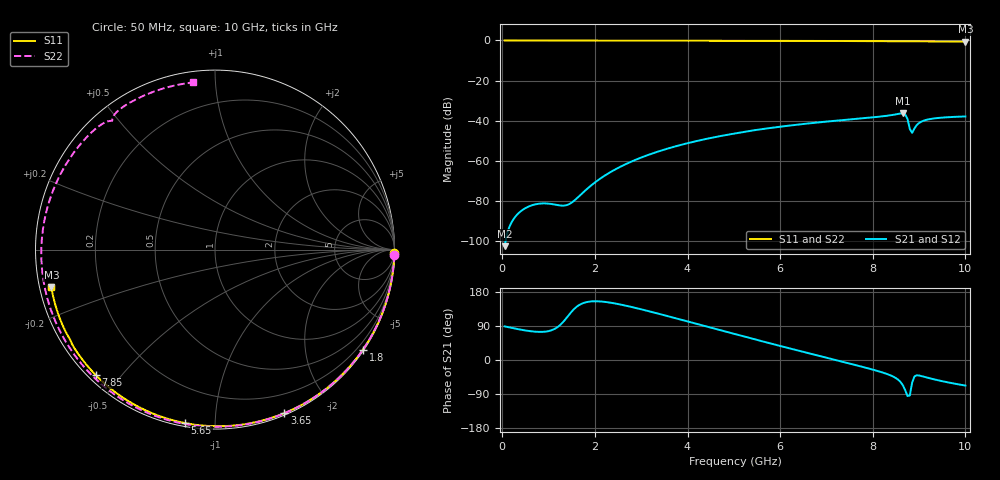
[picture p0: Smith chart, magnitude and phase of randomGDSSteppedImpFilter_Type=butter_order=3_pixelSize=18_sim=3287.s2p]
! freq	dB(S11)	phase(S11)	dB(S12)	phase(S12)
!  dB(S21)	phase(S21)	dB(S22)	phase(S22)
!S-par simulation data
#  GHz  S  DB  R 50
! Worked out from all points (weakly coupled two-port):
!   200 points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, 50 MHz to 10 GHz, reference 50 ohm
!   highest |S21| = -36.29 dB at 8.65 GHz (marker M1); lowest = -102.4 dB at 50 MHz (marker M2)
!   lowest |S11| = -0.6 dB at 10 GHz (marker M3), VSWR 30.02, Z = 1.69 - j5.71 ohm
!   |S11| at or under -10 dB: nowhere
!   |S22| runs from -0.7 to 0.0 dB; largest |S21 - S12| = 0
!   S11 on the Smith chart (normalised r, x): 50 MHz: open; 1.8 GHz: 0.03, -3.27; 3.65 GHz: 0.02, -1.51; 5.65 GHz: 0.02, -0.84; 7.85 GHz: 0.02, -0.43; 10 GHz: 0.03, -0.11
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0.05  -0.00 -1.0  -102.45 88.7  -102.45 88.7  -0.00 -1.8
0.75  -0.02 -14.3  -81.45 74.4  -81.45 74.4  -0.03 -25.9
1.5  -0.04 -28.5  -80.73 128.0  -80.73 128.0  -0.06 -50.7
1.75  -0.04 -33.1  -75.61 150.3  -75.61 150.3  -0.07 -58.7
1.8  -0.04 -34.0  -74.56 152.2  -74.56 152.2  -0.07 -60.3
2.15  -0.05 -40.5  -68.25 154.2  -68.25 154.2  -0.09 -71.0
2.5  -0.06 -46.8  -63.48 147.6  -63.48 147.6  -0.10 -81.4
3.4  -0.08 -62.7  -55.06 121.3  -55.06 121.3  -0.13 -106.5
3.65  -0.09 -67.0  -53.32 113.2  -53.32 113.2  -0.14 -113.0
5.05  -0.14 -90.2  -46.23 67.6  -46.23 67.6  -0.20 -147.3
5.65  -0.17 -99.8  -44.02 48.2  -44.02 48.2  -0.23 -161.1
6.7  -0.23 -116.0  -41.11 15.3  -41.11 15.3  -0.30 175.3
7.85  -0.31 -133.4  -38.61 -20.4  -38.61 -20.4  -0.39 149.1
8.35  -0.36 -141.0  -37.37 -38.9  -37.37 -38.9  -0.45 137.3
8.65  -0.39 -145.7  -36.29 -66.7  -36.29 -66.7  -0.61 129.9
8.7  -0.40 -146.5  -36.79 -79.6  -36.79 -79.6  -0.70 129.0
8.75  -0.42 -147.3  -39.09 -95.0  -39.09 -95.0  -0.74 128.6
8.8  -0.44 -147.9  -44.07 -93.6  -44.07 -93.6  -0.67 128.1
8.85  -0.44 -148.6  -46.01 -59.8  -46.01 -59.8  -0.57 127.0
8.95  -0.45 -150.1  -42.12 -40.4  -42.12 -40.4  -0.50 124.3
9.1  -0.46 -152.5  -39.93 -44.0  -39.93 -44.0  -0.48 120.3
10  -0.58 -167.0  -37.85 -67.5  -37.85 -67.5  -0.54 97.4
